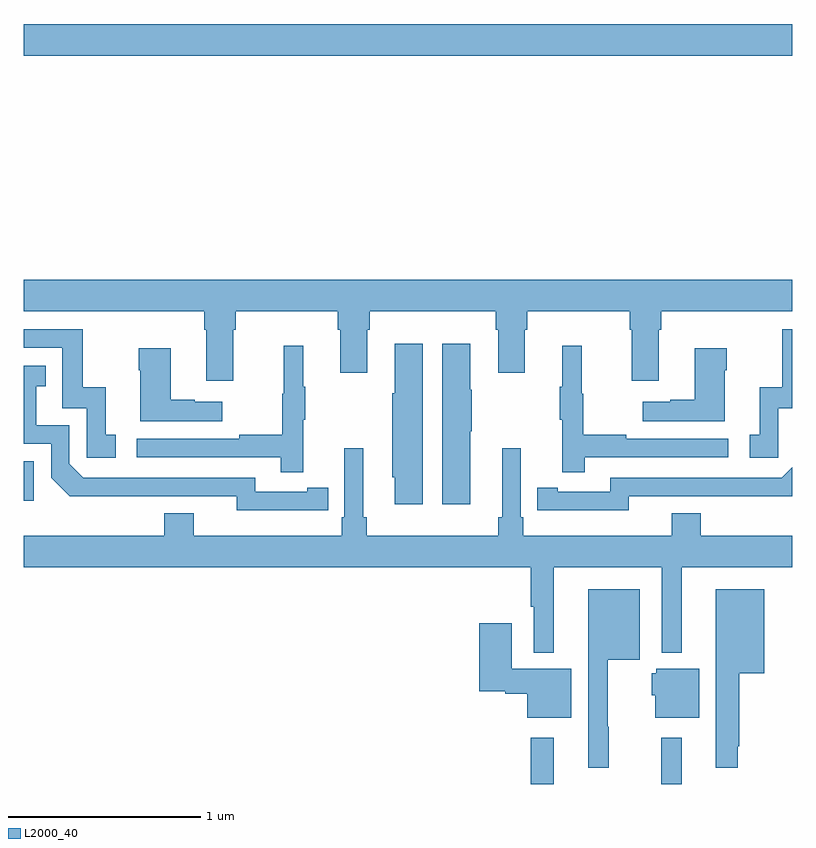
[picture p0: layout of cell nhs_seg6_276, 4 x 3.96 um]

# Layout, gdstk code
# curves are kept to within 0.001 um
import gdstk
lib = gdstk.Library(unit=1e-6, precision=1e-09)
def R(c, l, rs):  # rectangles x0, y0, x1, y1
    for r in rs: c.add(gdstk.rectangle(r[:2], r[2:], *l))
def P(c, l, *ps):  # polygons
    for p in ps: c.add(gdstk.Polygon(p, *l))
L2000_40 = (2000, 40)

nhs_seg6_276 = lib.new_cell('nhs_seg6_276')
R(nhs_seg6_276, L2000_40, [(127.638,987.5,127.759,987.742), (128.319,987.5,128.425,987.742), (125,988.974,125.052,989.181), (125,991.292,129,991.456)])
P(nhs_seg6_276, L2000_40, [(126.091,989.864),(126.104,989.864),(126.104,989.96),(126.635,989.96),(126.635,989.864),(126.647,989.864),(126.647,989.64),(126.787,989.64),(126.787,989.864),(126.8,989.864),(126.8,989.96),(127.457,989.96),(127.457,989.864),(127.469,989.864),(127.469,989.64),(127.609,989.64),(127.609,989.864),(127.622,989.864),(127.622,989.96),(128.153,989.96),(128.153,989.864),(128.165,989.864),(128.165,989.598),(128.305,989.598),(128.305,989.864),(128.318,989.864),(128.318,989.96),(129,989.96),(129,990.124),(125,990.124),(125,989.96),(125.939,989.96),(125.939,989.864),(125.951,989.864),(125.951,989.598),(126.091,989.598)],
  [(128.928,989.457),(129,989.457),(129,989.868),(128.949,989.868),(128.949,989.566),(128.831,989.566),(128.831,989.319),(128.778,989.319),(128.778,989.199),(128.928,989.199)],
  [(125.479,989.319),(125.426,989.319),(125.426,989.566),(125.308,989.566),(125.308,989.868),(125,989.868),(125,989.772),(125.199,989.772),(125.199,989.457),(125.328,989.457),(125.328,989.199),(125.479,989.199)],
  [(127.078,989.791),(126.932,989.791),(126.932,989.533),(126.917,989.533),(126.917,989.097),(126.932,989.097),(126.932,988.956),(127.078,988.956)],
  [(127.324,989.335),(127.332,989.335),(127.332,989.552),(127.324,989.552),(127.324,989.791),(127.178,989.791),(127.178,988.956),(127.324,988.956)],
  [(126.455,989.395),(126.466,989.395),(126.466,989.569),(126.455,989.569),(126.455,989.782),(126.352,989.782),(126.352,989.532),(126.345,989.532),(126.345,989.318),(126.121,989.318),(126.121,989.298),(125.589,989.298),(125.589,989.202),(126.337,989.202),(126.337,989.124),(126.455,989.124)],
  [(127.919,989.202),(128.668,989.202),(128.668,989.298),(128.135,989.298),(128.135,989.318),(127.912,989.318),(127.912,989.532),(127.904,989.532),(127.904,989.782),(127.802,989.782),(127.802,989.569),(127.791,989.569),(127.791,989.395),(127.802,989.395),(127.802,989.124),(127.919,989.124)],
  [(128.65,989.654),(128.658,989.654),(128.658,989.767),(128.492,989.767),(128.492,989.501),(128.366,989.501),(128.366,989.491),(128.223,989.491),(128.223,989.387),(128.65,989.387)],
  [(126.034,989.491),(125.891,989.491),(125.891,989.501),(125.764,989.501),(125.764,989.767),(125.599,989.767),(125.599,989.654),(125.606,989.654),(125.606,989.387),(126.034,989.387)],
  [(126.476,988.926),(126.584,988.926),(126.584,989.042),(126.476,989.042),(126.476,989.022),(126.204,989.022),(126.204,989.094),(125.31,989.094),(125.238,989.166),(125.238,989.367),(125.065,989.367),(125.065,989.571),(125.114,989.571),(125.114,989.677),(125,989.677),(125,989.271),(125.142,989.271),(125.142,989.094),(125.24,988.997),(126.108,988.998),(126.108,988.925)],
  [(127.759,988.628),(128.321,988.628),(128.321,988.184),(128.425,988.184),(128.425,988.628),(129,988.628),(129,988.792),(128.525,988.792),(128.525,988.909),(128.372,988.909),(128.372,988.792),(127.601,988.792),(127.601,988.888),(127.587,988.888),(127.587,989.248),(127.49,989.248),(127.49,988.888),(127.471,988.888),(127.471,988.792),(126.785,988.792),(126.785,988.888),(126.766,988.888),(126.766,989.248),(126.669,989.248),(126.669,988.888),(126.656,988.888),(126.656,988.792),(125.884,988.792),(125.884,988.909),(125.732,988.909),(125.732,988.792),(125,988.792),(125,988.628),(127.638,988.628),(127.638,988.423),(127.655,988.423),(127.655,988.184),(127.759,988.184)],
  [(128.148,988.998),(129,988.997),(129,989.148),(128.946,989.094),(128.052,989.094),(128.052,989.022),(127.78,989.022),(127.78,989.042),(127.672,989.042),(127.672,988.926),(128.148,988.925)],
  [(128.717,987.697),(128.725,987.697),(128.725,988.076),(128.854,988.076),(128.854,988.513),(128.603,988.513),(128.603,987.585),(128.717,987.585)],
  [(128.044,987.797),(128.041,987.797),(128.041,988.148),(128.206,988.148),(128.206,988.513),(127.937,988.513),(127.937,987.585),(128.044,987.585)],
  [(127.849,988.099),(127.54,988.099),(127.54,988.336),(127.37,988.336),(127.37,987.983),(127.506,987.983),(127.506,987.971),(127.622,987.971),(127.622,987.845),(127.849,987.845)],
  [(128.515,988.099),(128.292,988.099),(128.292,988.077),(128.27,988.077),(128.27,987.963),(128.288,987.963),(128.288,987.845),(128.515,987.845)])

lib.write_gds('nhs_seg6_276.gds')
